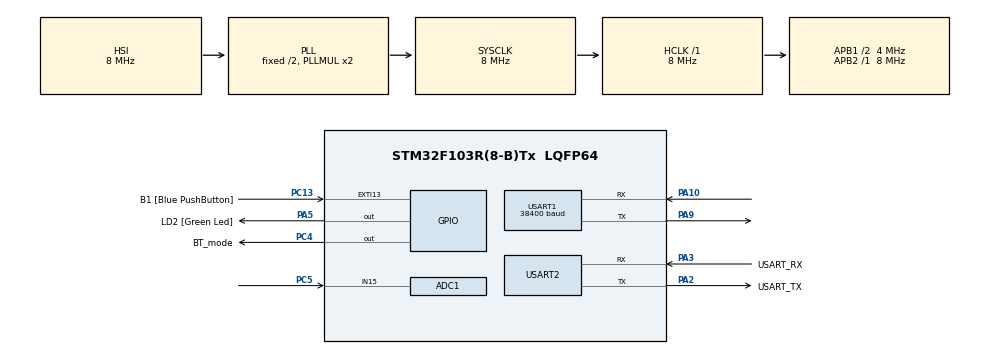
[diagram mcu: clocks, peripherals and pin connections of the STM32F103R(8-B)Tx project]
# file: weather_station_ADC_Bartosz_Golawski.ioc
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ADC1.Channel-1\#ChannelRegularConversion=ADC_CHANNEL_15
ADC1.ContinuousConvMode=ENABLE
ADC1.EnableRegularConversion=ENABLE
ADC1.NbrOfConversionFlag=1
ADC1.Rank-1\#ChannelRegularConversion=1
ADC1.SamplingTime-1\#ChannelRegularConversion=ADC_SAMPLETIME_239CYCLES_5
ADC1.master=1
Dma.ADC1.0.Direction=DMA_PERIPH_TO_MEMORY
Dma.ADC1.0.Instance=DMA1_Channel1
Dma.ADC1.0.MemDataAlignment=DMA_MDATAALIGN_HALFWORD
Dma.ADC1.0.MemInc=DMA_MINC_ENABLE
Dma.ADC1.0.Mode=DMA_CIRCULAR
Dma.ADC1.0.PeriphDataAlignment=DMA_PDATAALIGN_HALFWORD
Dma.ADC1.0.PeriphInc=DMA_PINC_DISABLE
Dma.ADC1.0.Priority=DMA_PRIORITY_HIGH
Dma.Request0=ADC1
Mcu.Family=STM32F1
Mcu.Name=STM32F103R(8-B)Tx
Mcu.Package=LQFP64
NVIC.DMA1_Channel1_IRQn=true\:0\:0\:false\:false\:true\:false\:true
NVIC.EXTI15_10_IRQn=true\:0\:0\:false\:false\:true\:true\:true
NVIC.PriorityGroup=NVIC_PRIORITYGROUP_4
NVIC.TIM2_IRQn=true\:0\:0\:false\:false\:true\:true\:true
NVIC.USART1_IRQn=true\:0\:0\:false\:false\:true\:true\:true
NVIC.USART2_IRQn=true\:0\:0\:false\:false\:true\:true\:true
PA10.Mode=Asynchronous
PA10.Signal=USART1_RX
PA13.GPIO_Label=TMS
PA13.Mode=Serial_Wire
PA13.Signal=SYS_JTMS-SWDIO
PA14.GPIO_Label=TCK
PA14.Mode=Serial_Wire
PA14.Signal=SYS_JTCK-SWCLK
PA2.GPIO_Label=USART_TX
PA2.GPIO_Mode=GPIO_MODE_AF_PP
PA2.GPIO_PuPd=GPIO_NOPULL
PA2.GPIO_Speed=GPIO_SPEED_FREQ_LOW
PA2.Mode=Asynchronous
PA2.Signal=USART2_TX
PA3.GPIO_Label=USART_RX
PA3.GPIO_Mode=GPIO_MODE_AF_PP
PA3.GPIO_PuPd=GPIO_NOPULL
PA3.GPIO_Speed=GPIO_SPEED_FREQ_LOW
PA3.Mode=Asynchronous
PA3.Signal=USART2_RX
PA5.GPIO_Label=LD2 [Green Led]
PA5.GPIO_ModeDefaultOutputPP=GPIO_MODE_OUTPUT_PP
PA5.GPIO_PuPd=GPIO_NOPULL
PA5.GPIO_Speed=GPIO_SPEED_FREQ_LOW
PA5.Signal=GPIO_Output
PA9.Mode=Asynchronous
PA9.Signal=USART1_TX
PB3.GPIO_Label=SWO
PB3.Signal=SYS_JTDO-TRACESWO
PC13-TAMPER-RTC.GPIO_Label=B1 [Blue PushButton]
PC13-TAMPER-RTC.GPIO_ModeDefaultEXTI=GPIO_MODE_IT_FALLING
PC13-TAMPER-RTC.GPIO_PuPd=GPIO_NOPULL
PC13-TAMPER-RTC.Signal=GPXTI13
PC14-OSC32_IN.Signal=RCC_OSC32_IN
PC15-OSC32_OUT.Signal=RCC_OSC32_OUT
PC4.GPIO_Label=BT_mode
PC4.PinState=GPIO_PIN_SET
PC4.Signal=GPIO_Output
PC5.Signal=ADCx_IN15
PD0-OSC_IN.Signal=RCC_OSC_IN
PD1-OSC_OUT.Signal=RCC_OSC_OUT
ProjectManager.HeapSize=0x200
ProjectManager.StackSize=0x400
ProjectManager.TargetToolchain=SW4STM32
RCC.AHBFreq_Value=8000000
RCC.APB1CLKDivider=RCC_HCLK_DIV2
RCC.APB1Freq_Value=4000000
RCC.APB1TimFreq_Value=8000000
RCC.APB2Freq_Value=8000000
RCC.APB2TimFreq_Value=8000000
RCC.HCLKFreq_Value=8000000
RCC.SYSCLKFreq_VALUE=8000000
RCC.SYSCLKSource=RCC_SYSCLKSOURCE_PLLCLK
RCC.USBFreq_Value=8000000
SH.ADCx_IN15.0=ADC1_IN15,IN15
TIM2.Period=5000-1
TIM2.Prescaler=64000-1
USART1.BaudRate=38400
USART1.VirtualMode=VM_ASYNC
USART2.VirtualMode=VM_ASYNC
VP_TIM2_VS_ClockSourceINT.Mode=Internal
board=NUCLEO-F103RB

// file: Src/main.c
/* USER CODE BEGIN Header */
/**
  ******************************************************************************
  * @file           : main.c
  * @brief          : Main program body
  ******************************************************************************
  * @attention
  *
  * <h2><center>&copy; Copyright (c) 2020 STMicroelectronics.
  * All rights reserved.</center></h2>
  *
  * This software component is licensed by ST under BSD 3-Clause license,
  * the "License"; You may not use this file except in compliance with the
  * License. You may obtain a copy of the License at:
  *                        opensource.org/licenses/BSD-3-Clause
  *
  ******************************************************************************
  */
/* USER CODE END Header */

#include "main.h"
#include "adc.h"
#include "dma.h"
#include "tim.h"
#include "usart.h"
#include "gpio.h"
#include "stm32f1xx_it.h"

/* USER CODE BEGIN PTD */
uint8_t PC_Rx_char;

uint8_t PC_Rx_buffer[80];
uint16_t PC_Rx_buffer_length = 0;

uint8_t PC_Tx_buffer[80];
uint16_t PC_Tx_buffer_length = 0;

uint8_t HC05_Rx_char;

uint8_t HC05_Rx_buffer[80];
uint16_t HC05_Rx_buffer_length = 0;

uint8_t HC05_Tx_buffer[80];
uint16_t HC05_Tx_buffer_length = 0;

uint16_t adc_value;
const float adc_prescaler = 4096.0f;

//typedef enum Bluetooth_mode{AT, DATA} BT_mode;

BT_mode HC05_mode;
/* USER CODE END PTD */

void SystemClock_Config(void);

int main(void)
{

  /* MCU Configuration--------------------------------------------------------*/

  /* Reset of all peripherals, Initializes the Flash interface and the Systick. */
  HAL_Init();

  /* Configure the system clock */
  SystemClock_Config();

  /* Initialize all configured peripherals */
  MX_GPIO_Init();
  MX_DMA_Init();
  MX_ADC1_Init();
  MX_TIM2_Init();
  MX_USART1_UART_Init();
  MX_USART2_UART_Init();
  /* USER CODE BEGIN 2 */

  HAL_GPIO_WritePin(GPIOC, GPIO_PIN_4, SET); // zmieс stan diody
  HAL_TIM_Base_Start_IT(&htim2);

  HC05_mode = AT;
  HAL_UART_Receive_IT(&huart2, &PC_Rx_char, 1);
  while (HC05_mode == AT);

  HAL_ADC_Start_DMA(&hadc1, (uint32_t*)(&adc_value), 1);
  /* USER CODE END 2 */

  /* Infinite loop */
  while (1)
  {

  }
}

void SystemClock_Config(void)
{
  RCC_OscInitTypeDef RCC_OscInitStruct = {0};
  RCC_ClkInitTypeDef RCC_ClkInitStruct = {0};
  RCC_PeriphCLKInitTypeDef PeriphClkInit = {0};

  /** Initializes the CPU, AHB and APB busses clocks
  */
  RCC_OscInitStruct.OscillatorType = RCC_OSCILLATORTYPE_HSI;
  RCC_OscInitStruct.HSIState = RCC_HSI_ON;
  RCC_OscInitStruct.HSICalibrationValue = RCC_HSICALIBRATION_DEFAULT;
  RCC_OscInitStruct.PLL.PLLState = RCC_PLL_ON;
  RCC_OscInitStruct.PLL.PLLSource = RCC_PLLSOURCE_HSI_DIV2;
  RCC_OscInitStruct.PLL.PLLMUL = RCC_PLL_MUL2;
  if (HAL_RCC_OscConfig(&RCC_OscInitStruct) != HAL_OK)
  {
    Error_Handler();
  }
  /** Initializes the CPU, AHB and APB busses clocks
  */
  RCC_ClkInitStruct.ClockType = RCC_CLOCKTYPE_HCLK|RCC_CLOCKTYPE_SYSCLK
                              |RCC_CLOCKTYPE_PCLK1|RCC_CLOCKTYPE_PCLK2;
  RCC_ClkInitStruct.SYSCLKSource = RCC_SYSCLKSOURCE_PLLCLK;
  RCC_ClkInitStruct.AHBCLKDivider = RCC_SYSCLK_DIV1;
  RCC_ClkInitStruct.APB1CLKDivider = RCC_HCLK_DIV2;
  RCC_ClkInitStruct.APB2CLKDivider = RCC_HCLK_DIV1;

  if (HAL_RCC_ClockConfig(&RCC_ClkInitStruct, FLASH_LATENCY_0) != HAL_OK)
  {
    Error_Handler();
  }
  PeriphClkInit.PeriphClockSelection = RCC_PERIPHCLK_ADC;
  PeriphClkInit.AdcClockSelection = RCC_ADCPCLK2_DIV2;
  if (HAL_RCCEx_PeriphCLKConfig(&PeriphClkInit) != HAL_OK)
  {
    Error_Handler();
  }
}

void Error_Handler(void)
{
}

/************************ (C) COPYRIGHT STMicroelectronics *****END OF FILE****/
